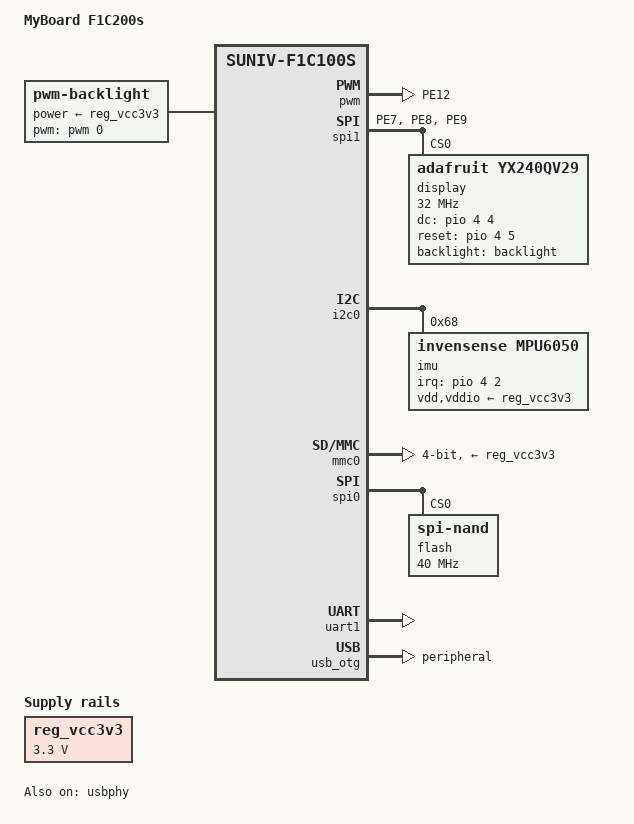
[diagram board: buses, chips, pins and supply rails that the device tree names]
// SPDX-License-Identifier: (GPL-2.0+ OR MIT)
/*
 * Custom F1C200s board with an MPU-6050 IMU on I2C0.
 *
 * Pin conventions (see myboard/README.md in the source tree root):
 *   UART1 console: PA2 (TX), PA3 (RX), 115200n8
 *   I2C0:          PD12 (SCL), PD0 (SDA), MPU-6050 at 0x68 (AD0 = GND)
 *   MPU-6050 INT:  PE2 (GPIO bank E = 4, EINT bank 1)
 *   LCD (ILI9341): SPI1 PE7 (CS), PE8 (MOSI), PE9 (CLK);
 *                  DC = PE4, RESET = PE5, backlight = PWM0 on PE12
 *   Storage:       SPI0 NAND on PC0-PC3, TF card on mmc0 (PF0-PF5)
 *   USB OTG:       peripheral (also used for FEL boot/download)
 *
 * Note: an RGB parallel panel would monopolize the whole PD bank
 * (including the I2C0 pins) and mainline has no suniv TCON/DE driver,
 * hence the SPI panel on the otherwise unused PE bank.
 */

/dts-v1/;
#include "suniv-f1c100s.dtsi"

#include <dt-bindings/gpio/gpio.h>
#include <dt-bindings/interrupt-controller/irq.h>

/ {
	model = "MyBoard F1C200s";
	compatible = "myvendor,myboard-f1c200s", "allwinner,suniv-f1c200s",
		     "allwinner,suniv-f1c100s";

	aliases {
		serial0 = &uart1;
		i2c0 = &i2c0;
	};

	chosen {
		stdout-path = "serial0:115200n8";
	};

	reg_vcc3v3: regulator-3v3 {
		compatible = "regulator-fixed";
		regulator-name = "vcc3v3";
		regulator-min-microvolt = <3300000>;
		regulator-max-microvolt = <3300000>;
		regulator-always-on;
	};

	backlight: backlight {
		compatible = "pwm-backlight";
		/* PWM0 channel 0, 25 kHz period */
		pwms = <&pwm 0 40000 0>;
		brightness-levels = <0 16 32 64 96 128 192 255>;
		default-brightness-level = <6>;
		power-supply = <&reg_vcc3v3>;
	};
};

&pio {
	spi1_pe_pins: spi1-pe-pins {
		/* write-only panel: CS/MOSI/CLK, MISO (PE10) left free */
		pins = "PE7", "PE8", "PE9";
		function = "spi1";
	};

	pwm0_pe_pin: pwm0-pe-pin {
		pins = "PE12";
		function = "pwm0";
	};
};

&pwm {
	pinctrl-names = "default";
	pinctrl-0 = <&pwm0_pe_pin>;
	status = "okay";
};

&spi1 {
	pinctrl-names = "default";
	pinctrl-0 = <&spi1_pe_pins>;
	status = "okay";

	display@0 {
		/* 2.4" 240x320 ILI9341 module (drivers/gpu/drm/tiny/ili9341.c) */
		compatible = "adafruit,yx240qv29";
		reg = <0>;
		spi-max-frequency = <32000000>;
		dc-gpios = <&pio 4 4 GPIO_ACTIVE_HIGH>;	/* PE4 */
		reset-gpios = <&pio 4 5 GPIO_ACTIVE_HIGH>;	/* PE5 */
		backlight = <&backlight>;
		rotation = <270>;	/* landscape 320x240 */
	};
};

&i2c0 {
	pinctrl-names = "default";
	pinctrl-0 = <&i2c0_pd_pins>;
	status = "okay";

	imu@68 {
		compatible = "invensense,mpu6050";
		reg = <0x68>;
		interrupt-parent = <&pio>;
		/* PE2: <bank pin flags>, bank E = 4 */
		interrupts = <4 2 IRQ_TYPE_EDGE_RISING>;
		vdd-supply = <&reg_vcc3v3>;
		vddio-supply = <&reg_vcc3v3>;
	};
};

&mmc0 {
	broken-cd;
	bus-width = <4>;
	disable-wp;
	vmmc-supply = <&reg_vcc3v3>;
	status = "okay";
};

&otg_sram {
	status = "okay";
};

&spi0 {
	pinctrl-names = "default";
	pinctrl-0 = <&spi0_pc_pins>;
	status = "okay";

	flash@0 {
		compatible = "spi-nand";
		reg = <0>;
		spi-max-frequency = <40000000>;
	};
};

&uart1 {
	pinctrl-names = "default";
	pinctrl-0 = <&uart1_pa_pins>;
	status = "okay";
};

&usb_otg {
	dr_mode = "peripheral";
	status = "okay";
};

&usbphy {
	status = "okay";
};
